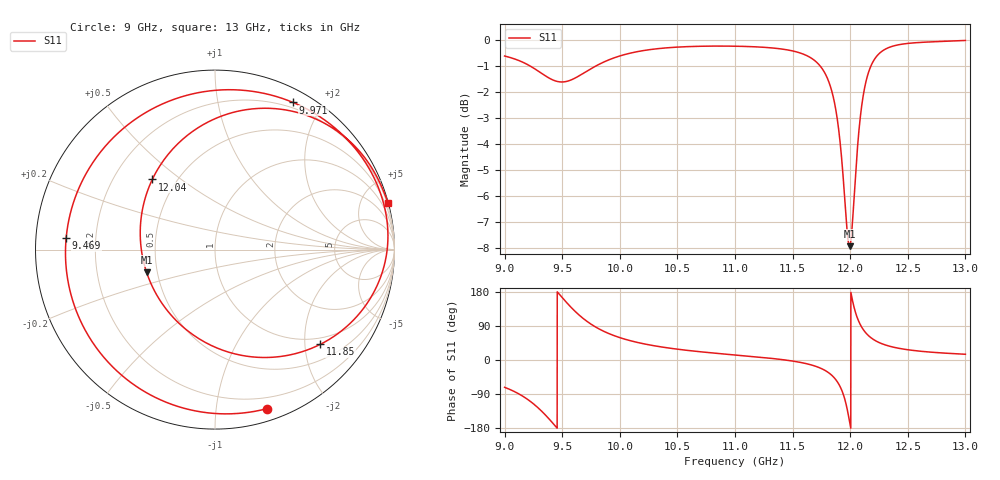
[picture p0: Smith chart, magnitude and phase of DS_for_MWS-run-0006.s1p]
! TOUCHSTONE file generated by CST DESIGN STUDIO
! Date and time: Tue Feb  4 14:27:47 2025
! Project name: C:\Work\MatlabApps\UnitCellOptimizationMatlab\CST\unitcell.cst
! Tree item: Tasks\Sweep1\SPara1\S-Parameters
! Header version: 2024
! Port assignment regex: !\s*Touchstone port\s*([0-9]+)\s*=\s*(CST MWS port|CST DES external port|CST DES block port)\s*(.+)\s* \(\"(.*)\"\)(\s*mode\s*([0-9]+))?.*
! Touchstone port assignment:
! Touchstone port 1 = CST DES external port 1 ("")
# GHz S MA R 50
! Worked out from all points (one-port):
!   4001 points, 9 GHz to 13 GHz, reference 50 ohm
!   lowest |S11| = -7.9 dB at 11.99 GHz (marker M1), VSWR 2.34, Z = 21.8 - j6.6 ohm
!   |S11| at or under -10 dB: nowhere
!   S11 on the Smith chart (normalised r, x): 9 GHz: 0.10, -1.37; 9.469 GHz: 0.09, +0.04; 9.971 GHz: 0.14, +1.65; 11.85 GHz: 0.84, -2.35; 12.04 GHz: 0.37, +0.40; 13 GHz: 0.04, +7.51
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9  0.9322 -72.0
9.149  0.9087 -93.9
9.256  0.8824 -117.1
9.378  0.8474 -152.9
9.469  0.8318 175.6
9.5  0.8309 164.7
9.599  0.8427 132.2
9.695  0.8665 106.5
9.808  0.8957 84.0
9.971  0.928 62.0
10  0.9324 59.1
10.215  0.9557 42.3
10.5  0.9696 28.5
11  0.9735 13.3
11.5  0.9534 -2.8
11.722  0.9007 -19.0
11.846  0.789 -42.0
11.931  0.5739 -83.0
11.962  0.463 -113.7
11.994  0.4016 -161.6
12  0.4042 -171.6
12.04  0.5242 131.8
12.072  0.6556 103.5
12.107  0.7672 83.2
12.217  0.9231 51.3
12.329  0.9666 37.4
12.5  0.9856 27.1
13  0.9986 15.2
